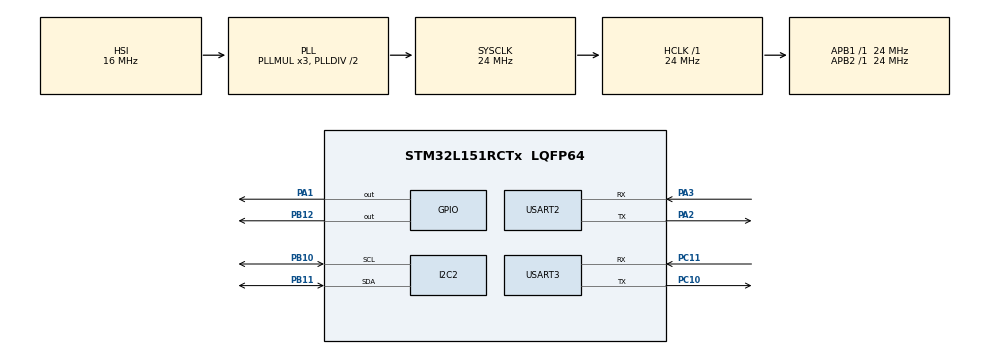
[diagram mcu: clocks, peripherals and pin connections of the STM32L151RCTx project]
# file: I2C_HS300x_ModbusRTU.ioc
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ADC.Channel-0\#ChannelRegularConversion=ADC_CHANNEL_TEMPSENSOR
ADC.ContinuousConvMode=ENABLE
ADC.NbrOfConversionFlag=1
ADC.Rank-0\#ChannelRegularConversion=1
ADC.Resolution=ADC_RESOLUTION_12B
ADC.SamplingTime-0\#ChannelRegularConversion=ADC_SAMPLETIME_192CYCLES
Mcu.Family=STM32L1
Mcu.Name=STM32L151RCTx
Mcu.Package=LQFP64
NVIC.PriorityGroup=NVIC_PRIORITYGROUP_4
NVIC.USART2_IRQn=true\:0\:0\:false\:false\:true\:true\:true\:true
NVIC.USART3_IRQn=true\:0\:0\:false\:false\:true\:true\:true\:true
PA1.Signal=GPIO_Output
PA13.Mode=Serial_Wire
PA13.Signal=SYS_JTMS-SWDIO
PA14.Mode=Serial_Wire
PA14.Signal=SYS_JTCK-SWCLK
PA2.GPIO_PuPd=GPIO_PULLUP
PA2.Mode=Asynchronous
PA2.Signal=USART2_TX
PA3.GPIO_PuPd=GPIO_PULLUP
PA3.Mode=Asynchronous
PA3.Signal=USART2_RX
PB10.Mode=I2C
PB10.Signal=I2C2_SCL
PB11.Mode=I2C
PB11.Signal=I2C2_SDA
PB12.Signal=GPIO_Output
PC10.Mode=Asynchronous
PC10.Signal=USART3_TX
PC11.Mode=Asynchronous
PC11.Signal=USART3_RX
ProjectManager.HeapSize=0x200
ProjectManager.StackSize=0x400
ProjectManager.TargetToolchain=MDK-ARM V5
RCC.AHBFreq_Value=24000000
RCC.APB1Freq_Value=24000000
RCC.APB1TimFreq_Value=24000000
RCC.APB2Freq_Value=24000000
RCC.APB2TimFreq_Value=24000000
RCC.HCLKFreq_Value=24000000
RCC.HSE_VALUE=24000000
RCC.HSI_VALUE=16000000
RCC.LSE_VALUE=32768
RCC.MSI_VALUE=2097000
RCC.SYSCLKFreq_VALUE=24000000
RCC.SYSCLKSource=RCC_SYSCLKSOURCE_PLLCLK
RCC.VCOOutputFreq_Value=48000000
USART2.VirtualMode=VM_ASYNC
USART3.VirtualMode=VM_ASYNC
VP_ADC_TempSens_Input.Mode=IN-TempSens
VP_ADC_Vref_Input.Mode=IN-Vrefint
board=custom

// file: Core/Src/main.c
/* USER CODE BEGIN Header */
/**
  ******************************************************************************
  * @file           : main.c
  * @brief          : Main program body
  ******************************************************************************
  * @attention
  *
  * Copyright (c) 2023 STMicroelectronics.
  * All rights reserved.
  *
  * This software is licensed under terms that can be found in the LICENSE file
  * in the root directory of this software component.
  * If no LICENSE file comes with this software, it is provided AS-IS.
  *
  ******************************************************************************
  */
/*

Add "HAL_SYSTICK_IRQHandler();" To "Systick_Handler" In "stm32L1xx_it.c"

*/
/* USER CODE END Header */
#include "main.h"

/* USER CODE BEGIN Includes */
#include "stdio.h"
#include "HS300x.h"
#include "user_uart.h"
#include "user_modbus_rtu.h"
#include "math.h"
/* USER CODE END Includes */

/* USER CODE BEGIN PTD */
#define ADDRESS_STM32 0X66
/* USER CODE END PTD */

ADC_HandleTypeDef hadc;

I2C_HandleTypeDef hi2c2;

UART_HandleTypeDef huart2;
UART_HandleTypeDef huart3;

/* USER CODE BEGIN PV */
uint32_t Time_Sampling = 3000;

uint32_t GetTick_Ms=0;
uint8_t check_GetTick_Ms=0;

int16_t Tem=0;
int16_t Humi=0;

int16_t Drop_Tem=0;
int16_t Drop_Humi=0;

uint8_t aTemperature[2];
uint8_t aHumidity[2];

int16_t temRx=0;
int16_t humiRx=0;

uint8_t address=0;

UART_BUFFER sUart2=
{
	.huart = &huart2,
};
uint8_t check_address_slave = 0;
uint16_t T[10]={0};
uint16_t H[10]={0};

int16_t AVG_T[10]={0};
int16_t AVG_H[10]={0};

uint32_t getTick_transmit_uart=0;
uint8_t address_Tx=26;
uint32_t count=0;
char Tem_Humi[50];

//float tem_stm=0.0;
//float adc=0;
/* USER CODE END PV */

void SystemClock_Config(void);
static void MX_GPIO_Init(void);
static void MX_I2C2_Init(void);
static void MX_USART3_UART_Init(void);
static void MX_USART2_UART_Init(void);
static void MX_ADC_Init(void);
/* USER CODE BEGIN PFP */
void HAL_SYSTICK_Callback(void);
uint8_t Modbus_RTU_Master(void);
void FLASH_Earse(uint32_t addr_ready_earse);
void FLASH_WriteNews(uint32_t addr_start_write,char News[]);
void display_uart(void);
/* USER CODE END PFP */

/* USER CODE BEGIN 0 */
//float avg_tem=0.0;
//float tem_stm32=0.0;
uint16_t adcRead=0;
/* USER CODE END 0 */

int main(void)
{

  /* MCU Configuration--------------------------------------------------------*/

  /* Reset of all peripherals, Initializes the Flash interface and the Systick. */
  HAL_Init();

  /* Configure the system clock */
  SystemClock_Config();

  /* Initialize all configured peripherals */
  MX_GPIO_Init();
  MX_I2C2_Init();
  MX_USART3_UART_Init();
  MX_USART2_UART_Init();
  MX_ADC_Init();
  /* USER CODE BEGIN 2 */
	HAL_ADC_Start(&hadc);
	HAL_UART_Receive_IT(sUart2.huart,&sUart2.buffer,1);
	HAL_GPIO_WritePin(GPIOB, GPIO_PIN_12, GPIO_PIN_RESET);
	//HS300X_Init(&hi2c1, TM, HU);
//	for(int i=1;i<128;i++)
//	{
//		if(HAL_I2C_IsDeviceReady(&hi2c2, i<<1, 5,5) == HAL_OK)
//		{
//			address=i;
//		}
//
//	while(1)
//	{
//		avg_tem=0;
//		for(int i=0; i<5;i++)
//		{
//			HAL_ADC_PollForConversion(&hadc, 1000);
//			adcRead = HAL_ADC_GetValue(&hadc);
//			//adcRead = adcRead*3;
//			avg_tem +=  (float)(((0.6268-3.3/4096*adcRead)/0.00161)-44);
//			HAL_Delay(20);
//		}
//		tem_stm32 =  avg_tem/5;
//	}
  /* USER CODE END 2 */

  /* Infinite loop */
  while (1)
  {

    /* USER CODE BEGIN 3 */
		if(GetTick_Ms>HAL_GetTick()) GetTick_Ms=0;
		if(HAL_GetTick()-GetTick_Ms>Time_Sampling)
		{
//			HS300X_Start_Measurement(&hi2c2, (int16_t*)&Tem, (int16_t*)&Humi);
//			sprintf(Tem_Humi,"T1:%d  H1:%d|T2:%d  H2:%d       ",Tem, Humi, temRx, humiRx);
//			HAL_UART_Transmit(&huart3, (uint8_t *)Tem_Humi, (uint16_t)strlen(Tem_Humi), 1000);
//			HAL_UART_Transmit(&huart3,(uint8_t *)"\r",(uint16_t)strlen("\r"),1000);
			display_uart();
			aTemperature[0] = Tem >> 8;
			aTemperature[1] = Tem ;
			aHumidity[0] = 0x00;
			aHumidity[1] = Humi ;
			GetTick_Ms = HAL_GetTick();
		}

		if(getTick_transmit_uart >HAL_GetTick()) getTick_transmit_uart=0;
		if(HAL_GetTick()- getTick_transmit_uart > 100)
		{
			HS300X_Start_Measurement(&hi2c2, (int16_t*)&Tem, (int16_t*)&Humi);
			Tem  = Tem  + Drop_Tem;
			Humi = Humi + Drop_Humi;
			uint8_t Frame[8];
			sData sFrame;
			sFrame.Data_a8 = Frame;
			ModRTU_Master_Read_Frame(&sFrame, address_Tx, 0x03, 0x02, 4);
			HAL_GPIO_WritePin(GPIOA, GPIO_PIN_1, GPIO_PIN_SET);
			HAL_UART_Transmit(&huart2, sFrame.Data_a8, sFrame.Length_u16, 1000);
			HAL_GPIO_WritePin(GPIOA, GPIO_PIN_1, GPIO_PIN_RESET);
			address_Tx++;
			if(address_Tx > 35) address_Tx=26;
			getTick_transmit_uart = HAL_GetTick();
		}

		check_address_slave = Modbus_RTU_Master();
		switch(check_address_slave)
		{
			case 26:
				T[0]=temRx; H[0]=humiRx;
				break;
			case 27:
				T[1]=temRx; H[1]=humiRx;
				break;
			case 28:
				T[2]=temRx; H[2]=humiRx;
				break;
			case 29:
				T[3]=temRx; H[3]=humiRx;
				break;
			case 30:
				T[4]=temRx; H[4]=humiRx;
				break;
			case 31:
				T[5]=temRx; H[5]=humiRx;
				break;
			case 32:
				T[6]=temRx; H[6]=humiRx;
				break;
			case 33:
				T[7]=temRx; H[7]=humiRx;
				break;
			case 34:
				T[8]=temRx; H[8]=humiRx;
				break;
			case 35:
				T[9]=temRx; H[9]=humiRx;
				break;
			default:
				break;
		}
  }
  /* USER CODE END 3 */
}

void SystemClock_Config(void)
{
  RCC_OscInitTypeDef RCC_OscInitStruct = {0};
  RCC_ClkInitTypeDef RCC_ClkInitStruct = {0};

  /** Configure the main internal regulator output voltage
  */
  __HAL_PWR_VOLTAGESCALING_CONFIG(PWR_REGULATOR_VOLTAGE_SCALE1);

  /** Initializes the RCC Oscillators according to the specified parameters
  * in the RCC_OscInitTypeDef structure.
  */
  RCC_OscInitStruct.OscillatorType = RCC_OSCILLATORTYPE_HSI;
  RCC_OscInitStruct.HSIState = RCC_HSI_ON;
  RCC_OscInitStruct.HSICalibrationValue = RCC_HSICALIBRATION_DEFAULT;
  RCC_OscInitStruct.PLL.PLLState = RCC_PLL_ON;
  RCC_OscInitStruct.PLL.PLLSource = RCC_PLLSOURCE_HSI;
  RCC_OscInitStruct.PLL.PLLMUL = RCC_PLL_MUL3;
  RCC_OscInitStruct.PLL.PLLDIV = RCC_PLL_DIV2;
  if (HAL_RCC_OscConfig(&RCC_OscInitStruct) != HAL_OK)
  {
    Error_Handler();
  }

  /** Initializes the CPU, AHB and APB buses clocks
  */
  RCC_ClkInitStruct.ClockType = RCC_CLOCKTYPE_HCLK|RCC_CLOCKTYPE_SYSCLK
                              |RCC_CLOCKTYPE_PCLK1|RCC_CLOCKTYPE_PCLK2;
  RCC_ClkInitStruct.SYSCLKSource = RCC_SYSCLKSOURCE_PLLCLK;
  RCC_ClkInitStruct.AHBCLKDivider = RCC_SYSCLK_DIV1;
  RCC_ClkInitStruct.APB1CLKDivider = RCC_HCLK_DIV1;
  RCC_ClkInitStruct.APB2CLKDivider = RCC_HCLK_DIV1;

  if (HAL_RCC_ClockConfig(&RCC_ClkInitStruct, FLASH_LATENCY_1) != HAL_OK)
  {
    Error_Handler();
  }
}

static void MX_ADC_Init(void)
{

  ADC_ChannelConfTypeDef sConfig = {0};

  /** Configure the global features of the ADC (Clock, Resolution, Data Alignment and number of conversion)
  */
  hadc.Instance = ADC1;
  hadc.Init.ClockPrescaler = ADC_CLOCK_ASYNC_DIV1;
  hadc.Init.Resolution = ADC_RESOLUTION_12B;
  hadc.Init.DataAlign = ADC_DATAALIGN_RIGHT;
  hadc.Init.ScanConvMode = ADC_SCAN_DISABLE;
  hadc.Init.EOCSelection = ADC_EOC_SEQ_CONV;
  hadc.Init.LowPowerAutoWait = ADC_AUTOWAIT_DISABLE;
  hadc.Init.LowPowerAutoPowerOff = ADC_AUTOPOWEROFF_DISABLE;
  hadc.Init.ChannelsBank = ADC_CHANNELS_BANK_A;
  hadc.Init.ContinuousConvMode = ENABLE;
  hadc.Init.NbrOfConversion = 1;
  hadc.Init.DiscontinuousConvMode = DISABLE;
  hadc.Init.ExternalTrigConv = ADC_SOFTWARE_START;
  hadc.Init.ExternalTrigConvEdge = ADC_EXTERNALTRIGCONVEDGE_NONE;
  hadc.Init.DMAContinuousRequests = DISABLE;
  if (HAL_ADC_Init(&hadc) != HAL_OK)
  {
    Error_Handler();
  }

  /** Configure for the selected ADC regular channel its corresponding rank in the sequencer and its sample time.
  */
  sConfig.Channel = ADC_CHANNEL_TEMPSENSOR;
  sConfig.Rank = ADC_REGULAR_RANK_1;
  sConfig.SamplingTime = ADC_SAMPLETIME_192CYCLES;
  if (HAL_ADC_ConfigChannel(&hadc, &sConfig) != HAL_OK)
  {
    Error_Handler();
  }

}

static void MX_I2C2_Init(void)
{

  hi2c2.Instance = I2C2;
  hi2c2.Init.ClockSpeed = 100000;
  hi2c2.Init.DutyCycle = I2C_DUTYCYCLE_2;
  hi2c2.Init.OwnAddress1 = 0;
  hi2c2.Init.AddressingMode = I2C_ADDRESSINGMODE_7BIT;
  hi2c2.Init.DualAddressMode = I2C_DUALADDRESS_DISABLE;
  hi2c2.Init.OwnAddress2 = 0;
  hi2c2.Init.GeneralCallMode = I2C_GENERALCALL_DISABLE;
  hi2c2.Init.NoStretchMode = I2C_NOSTRETCH_DISABLE;
  if (HAL_I2C_Init(&hi2c2) != HAL_OK)
  {
    Error_Handler();
  }

}

static void MX_USART2_UART_Init(void)
{

  huart2.Instance = USART2;
  huart2.Init.BaudRate = 115200;
  huart2.Init.WordLength = UART_WORDLENGTH_8B;
  huart2.Init.StopBits = UART_STOPBITS_1;
  huart2.Init.Parity = UART_PARITY_NONE;
  huart2.Init.Mode = UART_MODE_TX_RX;
  huart2.Init.HwFlowCtl = UART_HWCONTROL_NONE;
  huart2.Init.OverSampling = UART_OVERSAMPLING_16;
  if (HAL_UART_Init(&huart2) != HAL_OK)
  {
    Error_Handler();
  }

}

static void MX_USART3_UART_Init(void)
{

  huart3.Instance = USART3;
  huart3.Init.BaudRate = 115200;
  huart3.Init.WordLength = UART_WORDLENGTH_8B;
  huart3.Init.StopBits = UART_STOPBITS_1;
  huart3.Init.Parity = UART_PARITY_NONE;
  huart3.Init.Mode = UART_MODE_TX_RX;
  huart3.Init.HwFlowCtl = UART_HWCONTROL_NONE;
  huart3.Init.OverSampling = UART_OVERSAMPLING_16;
  if (HAL_UART_Init(&huart3) != HAL_OK)
  {
    Error_Handler();
  }

}

static void MX_GPIO_Init(void)
{
  GPIO_InitTypeDef GPIO_InitStruct = {0};

  /* GPIO Ports Clock Enable */
  __HAL_RCC_GPIOA_CLK_ENABLE();
  __HAL_RCC_GPIOB_CLK_ENABLE();
  __HAL_RCC_GPIOC_CLK_ENABLE();

  /*Configure GPIO pin Output Level */
  HAL_GPIO_WritePin(GPIOA, GPIO_PIN_1, GPIO_PIN_RESET);

  /*Configure GPIO pin Output Level */
  HAL_GPIO_WritePin(GPIOB, GPIO_PIN_12, GPIO_PIN_RESET);

  /*Configure GPIO pin : PA1 */
  GPIO_InitStruct.Pin = GPIO_PIN_1;
  GPIO_InitStruct.Mode = GPIO_MODE_OUTPUT_PP;
  GPIO_InitStruct.Pull = GPIO_NOPULL;
  GPIO_InitStruct.Speed = GPIO_SPEED_FREQ_LOW;
  HAL_GPIO_Init(GPIOA, &GPIO_InitStruct);

  /*Configure GPIO pin : PB12 */
  GPIO_InitStruct.Pin = GPIO_PIN_12;
  GPIO_InitStruct.Mode = GPIO_MODE_OUTPUT_PP;
  GPIO_InitStruct.Pull = GPIO_NOPULL;
  GPIO_InitStruct.Speed = GPIO_SPEED_FREQ_LOW;
  HAL_GPIO_Init(GPIOB, &GPIO_InitStruct);

}

/* USER CODE BEGIN 4 */

uint8_t Modbus_RTU_Master(void)
{
	if(Check_CountBuffer_Complete_Uart(&sUart2)==1)
	{
		uint16_t addressRx=sUart2.sim_rx[0];
		uint16_t funCode=sUart2.sim_rx[1];
		if(addressRx <= 35 && addressRx>=26 )
		{
			if(funCode == 0x03)
			{
				uint16_t CRC_rx = sUart2.sim_rx[sUart2.countBuffer-1] << 8 | sUart2.sim_rx[sUart2.countBuffer-2];
				uint16_t CRC_check = ModRTU_CRC(&sUart2.sim_rx[0], sUart2.countBuffer-2);
				if(CRC_check == CRC_rx)
				{
					temRx= sUart2.sim_rx[3]<<8 | sUart2.sim_rx[4];
					humiRx= sUart2.sim_rx[9]<<8 | sUart2.sim_rx[10];
				}
			}
			Delete_Buffer(&sUart2);
			return addressRx;
		}
		Delete_Buffer(&sUart2);
	}
	return 0;
}

void HAL_UART_RxCpltCallback(UART_HandleTypeDef *huart)
{
  /* Prevent unused argument(s) compilation warning */
  UNUSED(huart);
	if(huart->Instance == huart2.Instance)
	{
		sUart2.sim_rx[(sUart2.countBuffer)++]= sUart2.buffer;
		HAL_UART_Receive_IT(&huart2,&sUart2.buffer,1);
	}

  /* NOTE: This function should not be modified, when the callback is needed,
           the HAL_UART_RxCpltCallback could be implemented in the user file
   */
}
void HAL_SYSTICK_Callback(void)
{
//	GetTick_Ms++;
//	if(GetTick_Ms > Time_Sampling)
//	{
//		check_GetTick_Ms=1;
//		GetTick_Ms=0;
//	}
}

void FLASH_WriteNews(uint32_t addr_start_write,char News[])
{
  HAL_FLASH_Unlock();
	uint8_t length_tmp=0;
	if(32 %4 ==0) length_tmp=32/4;
	else length_tmp=32/4+1;
	uint32_t tmp[length_tmp];
	for(uint8_t i=0;i<length_tmp;i++)
	{
		tmp[i]=News[i];
		for(uint8_t j=i*4;j<i*4+4;j++)
		{
			tmp[i]=tmp[i]<< 8 | News[j];
		}
	}
	for(uint8_t i=0;i<length_tmp;i++)
	{
		HAL_FLASH_Program(FLASH_TYPEPROGRAM_WORD, addr_start_write , tmp[i]);
		(addr_start_write)=(addr_start_write)+4;
	}
  HAL_FLASH_Lock();
}

void FLASH_Earse(uint32_t addr_ready_earse)
{
	HAL_FLASH_Unlock();
	FLASH_EraseInitTypeDef EraseInit;
	EraseInit.TypeErase = FLASH_TYPEERASE_PAGES;
	EraseInit.PageAddress = addr_ready_earse;
	EraseInit.NbPages = (1024)/256;
	uint32_t PageError = 0;
	HAL_FLASHEx_Erase(&EraseInit, &PageError);
  HAL_FLASH_Lock();
}

void display_uart(void)
{
	int16_t max_tem=0;
	int16_t min_tem=0;

	int16_t max_humi=0;
	int16_t min_humi=0;

	count++;
	sprintf(Tem_Humi,"T1:%d | T2:%d | T3:%d | T4:%d | T5:%d",T[0],T[1],T[2],T[3],T[4]);
	HAL_UART_Transmit(&huart3, (uint8_t *)Tem_Humi, (uint16_t)strlen(Tem_Humi), 1000);
	HAL_UART_Transmit(&huart3,(uint8_t *)"\r",(uint16_t)strlen("\r"),1000);

	sprintf(Tem_Humi,"T6:%d | T7:%d | T8:%d | T9:%d | T10:%d",T[5],T[6],T[7],T[8],T[9]);
	HAL_UART_Transmit(&huart3, (uint8_t *)Tem_Humi, (uint16_t)strlen(Tem_Humi), 1000);
	HAL_UART_Transmit(&huart3,(uint8_t *)"\r\n",(uint16_t)strlen("\r\n"),1000);

	HAL_UART_Transmit(&huart3,(uint8_t *)"\r\n",(uint16_t)strlen("\r\n"),1000);

	sprintf(Tem_Humi,"H1:%d | H2:%d | H3:%d | H4:%d | H5:%d ",H[0],H[1],H[2],H[3],H[4]);
	HAL_UART_Transmit(&huart3, (uint8_t *)Tem_Humi, (uint16_t)strlen(Tem_Humi), 1000);
	HAL_UART_Transmit(&huart3,(uint8_t *)"\r\n",(uint16_t)strlen("\r\n"),1000);

	sprintf(Tem_Humi,"H6:%d | H7:%d | H8:%d | H9:%d | H10:%d ",H[5],H[6],H[7],H[8],H[9]);
	HAL_UART_Transmit(&huart3, (uint8_t *)Tem_Humi, (uint16_t)strlen(Tem_Humi), 1000);
	HAL_UART_Transmit(&huart3,(uint8_t *)"\r\n",(uint16_t)strlen("\r\n"),1000);

	HAL_UART_Transmit(&huart3,(uint8_t *)"\r\n",(uint16_t)strlen("\r\n"),1000);

	uint16_t average_tem=0;
	uint16_t average_humi=0;
	uint8_t count_tem=0;
	uint8_t count_humi=0;
	for(uint8_t i=0;i<10;i++)
	{
		if(T[i]>0 )
		{
			min_tem=T[i];
			count_tem++;
			average_tem = average_tem + T[i];
		}

		if(H[i]>0 )
		{
			min_humi=H[i];
			count_humi++;
			average_humi = average_humi + H[i];
		}
	}
	if(count_tem>0) average_tem = average_tem/count_tem;
	if(count_humi>0) average_humi = average_humi/count_humi;

	for(uint8_t i=0; i<10;i++)
	{
		if(count_tem > 0)
		{
			if(T[i]>0)
			{
				AVG_T[i] = average_tem - T[i];
				if(T[i] > max_tem) max_tem = T[i];
				if(T[i] < min_tem) min_tem = T[i];
			}
		}

		if(count_humi > 0)
		{
			if(H[i]>0 )
			{
				AVG_H[i] = average_humi - H[i];
				if(H[i] > max_humi) max_humi = H[i];
				if(H[i] < min_humi) min_humi = H[i];
			}
		}
	}

	sprintf(Tem_Humi,"Average_Tem:%d      Average_Humi:%d", average_tem, average_humi);
	HAL_UART_Transmit(&huart3, (uint8_t *)Tem_Humi, (uint16_t)strlen(Tem_Humi), 1000);
	HAL_UART_Transmit(&huart3,(uint8_t *)"\r\n",(uint16_t)strlen("\r\n"),1000);

//	sprintf(Tem_Humi,"T1:%d | T2:%d | T3:%d | T4:%d | T5:%d",AVG_T[0],AVG_T[1],AVG_T[2],AVG_T[3],AVG_T[4]);
//	HAL_UART_Transmit(&huart3, (uint8_t *)Tem_Humi, (uint16_t)strlen(Tem_Humi), 1000);
//	HAL_UART_Transmit(&huart3,(uint8_t *)"\r",(uint16_t)strlen("\r"),1000);
//
//	sprintf(Tem_Humi,"T6:%d | T7:%d | T8:%d | T9:%d | T10:%d",AVG_T[5],AVG_T[6],AVG_T[7],AVG_T[8],AVG_T[9]);
//	HAL_UART_Transmit(&huart3, (uint8_t *)Tem_Humi, (uint16_t)strlen(Tem_Humi), 1000);
//	HAL_UART_Transmit(&huart3,(uint8_t *)"\r\n",(uint16_t)strlen("\r\n"),1000);
//
//	sprintf(Tem_Humi,"H1:%d | H2:%d | H3:%d | H4:%d | H5:%d ",AVG_H[0],AVG_H[1],AVG_H[2],AVG_H[3],AVG_H[4]);
//	HAL_UART_Transmit(&huart3, (uint8_t *)Tem_Humi, (uint16_t)strlen(Tem_Humi), 1000);
//	HAL_UART_Transmit(&huart3,(uint8_t *)"\r\n",(uint16_t)strlen("\r\n"),1000);
//
//	sprintf(Tem_Humi,"H6:%d | H7:%d | H8:%d | H9:%d | H10:%d ",AVG_H[5],AVG_H[6],AVG_H[7],AVG_H[8],AVG_H[9]);
//	HAL_UART_Transmit(&huart3, (uint8_t *)Tem_Humi, (uint16_t)strlen(Tem_Humi), 1000);
//	HAL_UART_Transmit(&huart3,(uint8_t *)"\r\n",(uint16_t)strlen("\r\n"),1000);

	sprintf(Tem_Humi,"Tmax-Tmin:%d      Hmax-Hmin:%d",max_tem - min_tem , max_humi- min_humi);
	HAL_UART_Transmit(&huart3, (uint8_t *)Tem_Humi, (uint16_t)strlen(Tem_Humi), 1000);
	HAL_UART_Transmit(&huart3,(uint8_t *)"\r\n",(uint16_t)strlen("\r\n"),1000);

	sprintf(Tem_Humi,"Master_Tem:%d      Humi_Tem:%d",Tem , Humi);
	HAL_UART_Transmit(&huart3, (uint8_t *)Tem_Humi, (uint16_t)strlen(Tem_Humi), 1000);
	HAL_UART_Transmit(&huart3,(uint8_t *)"\r\n",(uint16_t)strlen("\r\n"),1000);

	sprintf(Tem_Humi,"-----------------------%d------------------------",count);
	HAL_UART_Transmit(&huart3, (uint8_t *)Tem_Humi, (uint16_t)strlen(Tem_Humi), 1000);
	HAL_UART_Transmit(&huart3,(uint8_t *)"\r\n",(uint16_t)strlen("\r\n"),1000);
}

/* USER CODE END 4 */

void Error_Handler(void)
{
  __disable_irq();
  while (1)
  {
  }
}
